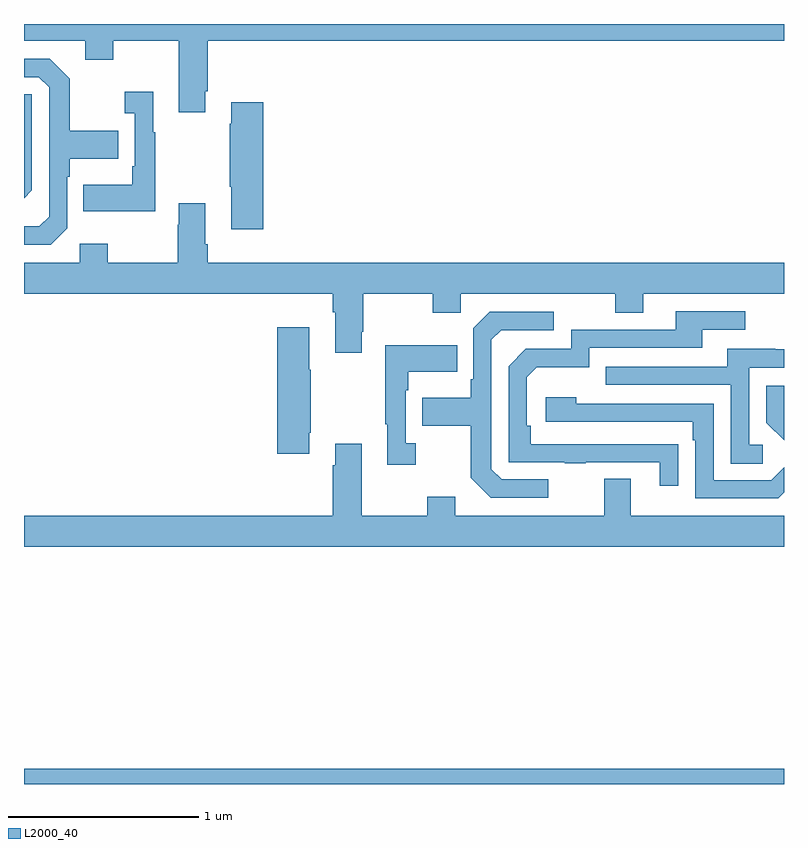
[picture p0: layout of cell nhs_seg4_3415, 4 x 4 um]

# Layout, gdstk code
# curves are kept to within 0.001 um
import gdstk
lib = gdstk.Library(unit=1e-6, precision=1e-09)
def R(c, l, rs):  # rectangles x0, y0, x1, y1
    for r in rs: c.add(gdstk.rectangle(r[:2], r[2:], *l))
def P(c, l, *ps):  # polygons
    for p in ps: c.add(gdstk.Polygon(p, *l))
L2000_40 = (2000, 40)

nhs_seg4_3415 = lib.new_cell('nhs_seg4_3415')
R(nhs_seg4_3415, L2000_40, [(291,800.9,295,800.98)])
P(nhs_seg4_3415, L2000_40, [(291.955,804.547),(291.968,804.547),(291.968,804.812),(295,804.812),(295,804.9),(291,804.9),(291,804.812),(291.323,804.812),(291.323,804.713),(291.471,804.713),(291.471,804.812),(291.815,804.812),(291.815,804.435),(291.955,804.435)],
  [(291.228,803.826),(291.228,804.095),(291.241,804.095),(291.241,804.191),(291.497,804.191),(291.497,804.339),(291.241,804.339),(291.241,804.611),(291.135,804.717),(291,804.717),(291,804.621),(291.078,804.621),(291.132,804.567),(291.132,803.886),(291.081,803.835),(291,803.835),(291,803.739),(291.141,803.739)],
  [(291.691,804.331),(291.679,804.331),(291.679,804.544),(291.531,804.544),(291.531,804.431),(291.582,804.431),(291.582,804.151),(291.57,804.151),(291.57,804.055),(291.313,804.055),(291.313,803.915),(291.691,803.915)],
  [(291.042,804.024),(291.042,804.531),(291,804.531),(291,803.982)],
  [(292.259,804.487),(292.091,804.487),(292.091,804.374),(292.084,804.374),(292.084,804.043),(292.091,804.043),(292.091,803.82),(292.259,803.82)],
  [(292.777,803.281),(292.785,803.281),(292.785,803.48),(293.152,803.48),(293.152,803.381),(293.298,803.381),(293.298,803.48),(294.112,803.48),(294.112,803.381),(294.259,803.381),(294.259,803.48),(295,803.48),(295,803.644),(291.968,803.644),(291.968,803.74),(291.955,803.74),(291.955,803.956),(291.815,803.956),(291.815,803.843),(291.808,803.843),(291.808,803.644),(291.441,803.644),(291.441,803.743),(291.294,803.743),(291.294,803.644),(291,803.644),(291,803.48),(292.625,803.48),(292.625,803.384),(292.637,803.384),(292.637,803.169),(292.777,803.169)],
  [(294.443,802.688),(293.666,802.689),(293.666,802.786),(293.646,802.786),(293.646,803.04),(293.699,803.093),(293.976,803.093),(293.976,803.196),(294.571,803.196),(294.571,803.292),(294.796,803.292),(294.796,803.388),(294.431,803.388),(294.431,803.292),(293.88,803.292),(293.88,803.19),(293.64,803.19),(293.55,803.1),(293.55,802.593),(293.845,802.593),(293.845,802.588),(293.957,802.588),(293.957,802.593),(294.347,802.593),(294.347,802.47),(294.443,802.47)],
  [(293.758,802.503),(293.514,802.503),(293.46,802.557),(293.46,803.238),(293.511,803.289),(293.788,803.289),(293.788,803.385),(293.451,803.385),(293.364,803.298),(293.364,803.029),(293.352,803.029),(293.352,802.933),(293.095,802.933),(293.095,802.786),(293.352,802.786),(293.352,802.513),(293.457,802.407),(293.758,802.407)],
  [(292.501,802.75),(292.509,802.75),(292.509,803.081),(292.501,803.081),(292.501,803.305),(292.334,803.305),(292.334,802.638),(292.501,802.638)],
  [(293.062,802.694),(293.01,802.694),(293.01,802.973),(293.023,802.973),(293.023,803.069),(293.279,803.069),(293.279,803.209),(292.902,803.209),(292.902,802.793),(292.913,802.793),(292.913,802.581),(293.062,802.581)],
  [(294.889,802.686),(294.816,802.686),(294.816,803.091),(295,803.091),(295,803.187),(294.955,803.187),(294.955,803.191),(294.701,803.191),(294.701,803.097),(294.061,803.097),(294.061,803.001),(294.72,803.001),(294.72,802.585),(294.889,802.585)],
  [(295,802.996),(294.906,802.996),(294.906,802.802),(295,802.708)],
  [(295,802.435),(295,802.567),(294.933,802.5),(294.63,802.5),(294.63,802.902),(293.906,802.902),(293.906,802.936),(293.745,802.936),(293.745,802.806),(294.521,802.806),(294.521,802.709),(294.534,802.709),(294.534,802.404),(294.969,802.404)],
  [(295,802.312),(294.193,802.312),(294.193,802.507),(294.053,802.507),(294.053,802.312),(293.269,802.312),(293.269,802.411),(293.122,802.411),(293.122,802.312),(292.777,802.312),(292.777,802.69),(292.637,802.69),(292.637,802.577),(292.625,802.577),(292.625,802.312),(291,802.312),(291,802.148),(295,802.148)])

lib.write_gds('nhs_seg4_3415.gds')
